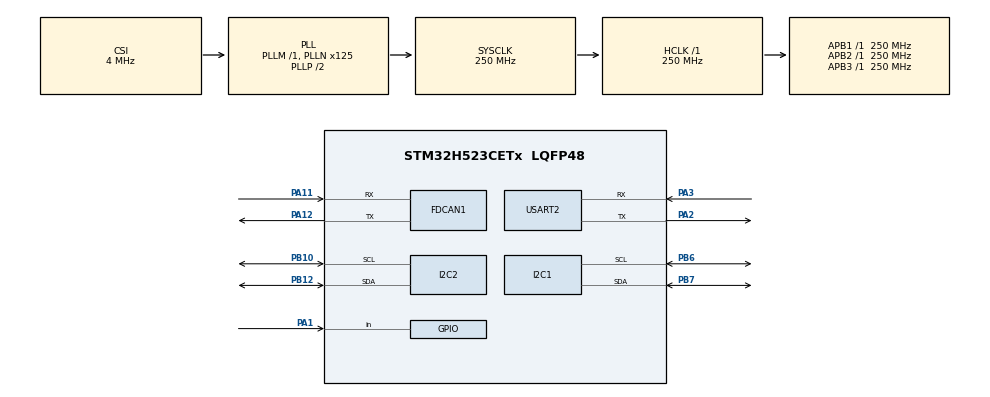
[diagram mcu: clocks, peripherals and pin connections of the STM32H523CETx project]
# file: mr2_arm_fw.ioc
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BOOTPATH.BootPathName=LEGACY
BOOTPATH.UserSelectedBootPath=LEGACY
CORTEX_M33_NS.userName=CORTEX_M33
FDCAN1.AutoRetransmission=ENABLE
FDCAN1.CalculateBaudRateNominal=1000000
FDCAN1.CalculateTimeBitNominal=1000
FDCAN1.CalculateTimeQuantumNominal=20.0
FDCAN1.NominalPrescaler=5
FDCAN1.NominalTimeSeg1=43
FDCAN1.NominalTimeSeg2=6
FDCAN1.TransmitPause=DISABLE
I2C1.Timing=0x60808CD3
I2C2.Timing=0x60808CD3
Mcu.Family=STM32H5
Mcu.Name=STM32H523CETx
Mcu.Package=LQFP48
NVIC.PriorityGroup=NVIC_PRIORITYGROUP_4
NVIC.TIM1_UP_IRQn=true\:0\:0\:false\:false\:true\:true\:true\:true
PA1.GPIO_PuPd=GPIO_PULLUP
PA1.Signal=GPIO_Input
PA11.Mode=FDCAN_Activate
PA11.Signal=FDCAN1_RX
PA12.Mode=FDCAN_Activate
PA12.Signal=FDCAN1_TX
PA13(JTMS/SWDIO).Mode=Serial_Wire
PA13(JTMS/SWDIO).Signal=DEBUG_JTMS-SWDIO
PA14(JTCK/SWCLK).Mode=Serial_Wire
PA14(JTCK/SWCLK).Signal=DEBUG_JTCK-SWCLK
PA2.Mode=Asynchronous
PA2.Signal=USART2_TX
PA3.Mode=Asynchronous
PA3.Signal=USART2_RX
PB10.GPIO_Pu=GPIO_PULLUP
PB10.Mode=I2C
PB10.Signal=I2C2_SCL
PB12.GPIO_Pu=GPIO_PULLUP
PB12.Mode=I2C
PB12.Signal=I2C2_SDA
PB6.GPIO_Pu=GPIO_PULLUP
PB6.Mode=I2C
PB6.Signal=I2C1_SCL
PB7.GPIO_Pu=GPIO_PULLUP
PB7.Mode=I2C
PB7.Signal=I2C1_SDA
PH0-OSC_IN(PH0).Mode=HSE-External-Oscillator
PH0-OSC_IN(PH0).Signal=RCC_OSC_IN
PH1-OSC_OUT(PH1).Mode=HSE-External-Oscillator
PH1-OSC_OUT(PH1).Signal=RCC_OSC_OUT
ProjectManager.HeapSize=0x200
ProjectManager.StackSize=0x400
ProjectManager.TargetToolchain=CMake
RCC.ADCFreq_Value=250000000
RCC.AHBFreq_Value=250000000
RCC.APB1Freq_Value=250000000
RCC.APB1TimFreq_Value=250000000
RCC.APB2Freq_Value=250000000
RCC.APB2TimFreq_Value=250000000
RCC.APB3Freq_Value=250000000
RCC.CSI_VALUE=4000000
RCC.CodegenConfigPeriph=true
RCC.CortexFreq_Value=250000000
RCC.DATA_CACHE_ENABLE=1
RCC.EPOD_VALUE=4000000
RCC.FDCANClockSelection=RCC_FDCANCLKSOURCE_PLL1Q
RCC.HCLKFreq_Value=250000000
RCC.HSE_VALUE=8000000
RCC.HSI48_VALUE=48000000
RCC.HSI_VALUE=64000000
RCC.INSTRUCTION_CACHE_ENABLE=1
RCC.LSE_Drive_CapabilityArg=+LSE_Drive_Capability
RCC.LSE_VALUE=0
RCC.LSIRC_VALUE=32000
RCC.PLL2FRACN=0
RCC.PLL3FRACN=0
RCC.PLLFRACN=0
RCC.PLLN=125
RCC.PREFETCH_ENABLE=0
RCC.PWREXT_OverDrive=PWREXT_OverDrive_DESACTIVATED
RCC.SYSCLKFreq_VALUE=250000000
RCC.SYSCLKSource=RCC_SYSCLKSOURCE_PLLCLK
RCC.USBFreq_Value=48000000
RCC.VCOOutputFreq_Value=500000000
TIM1.AutoReloadPreload=TIM_AUTORELOAD_PRELOAD_ENABLE
TIM1.PeriodNoDither=999
TIM1.Prescaler=24999
TIM2.PeriodNoDither=999
TIM2.Prescaler=2499
USART2.VirtualMode-Asynchronous=VM_ASYNC
VP_BOOTPATH_VS_BOOTPATH.Mode=BP_Activate
VP_CORTEX_M33_NS_VS_Hclk.Mode=Hclk_Mode
VP_ICACHE_VS_ICACHE.Mode=DirectMappedCache
VP_MEMORYMAP_VS_MEMORYMAP.Mode=CurAppReg
VP_PWR_VS_LPOM.Mode=PowerOptimisation
VP_PWR_VS_SECSignals.Mode=Security/Privilege
VP_TIM1_VS_ClockSourceINT.Mode=Internal
VP_TIM2_VS_ClockSourceINT.Mode=Internal
board=custom

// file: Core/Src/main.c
/* USER CODE BEGIN Header */
/**
 ******************************************************************************
 * @file           : main.c
 * @brief          : Main program body
 ******************************************************************************
 * @attention
 *
 * Copyright (c) 2025 STMicroelectronics.
 * All rights reserved.
 *
 * This software is licensed under terms that can be found in the LICENSE file
 * in the root directory of this software component.
 * If no LICENSE file comes with this software, it is provided AS-IS.
 *
 ******************************************************************************
 */
/* USER CODE END Header */
#include "main.h"

/* USER CODE BEGIN Includes */
#include <stdio.h>
#include <string.h>
/* USER CODE END Includes */

/* USER CODE BEGIN PTD */
typedef struct {
  I2C_HandleTypeDef *handle;
  const char *name;
  uint32_t consecutive_failures;
  uint32_t digital_filter;
} I2C_FaultContext;

/* USER CODE END PTD */

/* USER CODE BEGIN PD */
#define AS5600_I2C_ADDR (0x36u << 1) /* HAL expects 8-bit address */
#define AS5600_ANGLE_START 0x0Eu
#define AS5600_STEPS 4096.0f
#define CAN_ID_ENCODER1_STATUS 0x180U
#define CAN_ID_ENCODER2_STATUS 0x182U
#define CAN_ID_LIMIT_SWITCH 0x181U
#define ENC_FLAG_INDEX_SEEN 0x01u
#define ENC_FLAG_ERROR_LATCHED 0x02u
#define ENC_FLAG_SENSOR_FAULT 0x04u
#define ENC_FLAG_OVER_SPEED 0x08u
#define CAN_ERROR_FLAG_BUS_OFF (1UL << 9)
#define I2C_FAULT_RECOVERY_THRESHOLD 2u
/* USER CODE END PD */

FDCAN_HandleTypeDef hfdcan1;

I2C_HandleTypeDef hi2c1;
I2C_HandleTypeDef hi2c2;

TIM_HandleTypeDef htim1;
TIM_HandleTypeDef htim2;

UART_HandleTypeDef huart2;

/* USER CODE BEGIN PV */
static volatile uint32_t angle_check_pending = 0UL;
static FDCAN_TxHeaderTypeDef encoder_status_headers[2];
static FDCAN_TxHeaderTypeDef limit_switch_header;
static uint8_t encoder_status_flags[2] = {0u, 0u};
static volatile uint8_t limit_switch_pending = 0u;
static uint8_t limit_switch_frame[8] = {0};
static uint8_t limit_switch_last_state = 0u;
static uint8_t limit_switch_initialized = 0u;
static uint32_t limit_switch_next_periodic_tick = 0u;
static I2C_FaultContext i2c_fault_contexts[] = {
    {&hi2c1, "I2C1", 0u, 0u},
    {&hi2c2, "I2C2", 0u, 0u},
};
static int32_t encoder_position_q24[2] = {0};
static volatile uint8_t fdcan_bus_off_pending = 0u;
static volatile uint32_t fdcan_bus_off_request_tick = 0u;

/* USER CODE END PV */

void SystemClock_Config(void);
static void MX_GPIO_Init(void);
static void MX_I2C1_Init(void);
static void MX_I2C2_Init(void);
static void MX_ICACHE_Init(void);
static void MX_FDCAN1_Init(void);
static void MX_USART2_UART_Init(void);
static void MX_TIM1_Init(void);
static void MX_TIM2_Init(void);
/* USER CODE BEGIN PFP */
static void AngleCheck_Run(void);
static void CAN_InitTxHeaders(void);
static HAL_StatusTypeDef CAN_SendFrame(FDCAN_TxHeaderTypeDef *header,
                                       uint8_t data[8]);
static void CAN_SendEncoderStatus(uint8_t index);
static int32_t ClampToS24(int32_t value);
static void PackS24BE(uint8_t *dest, int32_t value);
static I2C_FaultContext *I2C_GetContext(I2C_HandleTypeDef *handle);
static HAL_StatusTypeDef I2C_RecoverBus(I2C_FaultContext *ctx);
static HAL_StatusTypeDef I2C_HandleFault(I2C_FaultContext *ctx);
static HAL_StatusTypeDef AS5600_ReadAngleWithFallback(I2C_HandleTypeDef *hi2c,
                                                      I2C_FaultContext *ctx,
                                                      uint16_t *angle12);
static void LimitSwitch_Poll(void);
static void LimitSwitch_RecordEvent(uint8_t state, uint8_t is_change);
static void LimitSwitch_Service(void);
static void CAN_ScheduleBusOffRecovery(void);
static void CAN_ServiceBusOff(void);

/* USER CODE END PFP */

/* USER CODE BEGIN 0 */
static HAL_StatusTypeDef AS5600_ReadAngle12(I2C_HandleTypeDef *hi2c,
                                            uint16_t *angle12) {
  uint8_t buf[2] = {0};
  HAL_StatusTypeDef st =
      HAL_I2C_Mem_Read(hi2c, AS5600_I2C_ADDR, AS5600_ANGLE_START,
                       I2C_MEMADD_SIZE_8BIT, buf, sizeof(buf), 10);
  if (st != HAL_OK) {
    return st;
  }

  *angle12 = (uint16_t)(((buf[0] & 0x0Fu) << 8) | buf[1]);
  return HAL_OK;
}

static void UART_SendLine(const char *s) {
  size_t len = strlen(s);
  HAL_UART_Transmit(&huart2, (uint8_t *)s, (uint16_t)len, 50);
}

static void print_i2c_error(const char *tag, I2C_HandleTypeDef *hi2c) {
  uint32_t err = HAL_I2C_GetError(hi2c);
  char msg[96];
  snprintf(msg, sizeof(msg), "%s ERR=0x%08lX%s%s%s%s%s%s\r\n", tag,
           (unsigned long)err, (err & HAL_I2C_ERROR_BERR) ? " BERR" : "",
           (err & HAL_I2C_ERROR_ARLO) ? " ARLO" : "",
           (err & HAL_I2C_ERROR_AF) ? " AF(NACK)" : "",
           (err & HAL_I2C_ERROR_OVR) ? " OVR" : "",
           (err & HAL_I2C_ERROR_DMA) ? " DMA" : "",
           (err & HAL_I2C_ERROR_TIMEOUT) ? " TIMEOUT" : "");
  UART_SendLine(msg);
}

static HAL_StatusTypeDef probe_as5600(I2C_HandleTypeDef *hi2c,
                                      const char *tag) {
  HAL_StatusTypeDef st = HAL_I2C_IsDeviceReady(hi2c, AS5600_I2C_ADDR, 3, 10);
  char line[64];
  if (st != HAL_OK) {
    snprintf(line, sizeof(line), "%s: NACK @0x36\r\n", tag);
    UART_SendLine(line);
    print_i2c_error(tag, hi2c);
  } else {
    snprintf(line, sizeof(line), "%s: OK\r\n", tag);
    UART_SendLine(line);
  }
  return st;
}

static int32_t ClampToS24(int32_t value) {
  if (value > 0x7FFFFF) {
    return 0x7FFFFF;
  }
  if (value < -0x800000) {
    return -0x800000;
  }
  return value;
}

static void PackS24BE(uint8_t *dest, int32_t value) {
  const int32_t clamped = ClampToS24(value);
  dest[0] = (uint8_t)((uint32_t)clamped >> 16);
  dest[1] = (uint8_t)((uint32_t)clamped >> 8);
  dest[2] = (uint8_t)((uint32_t)clamped);
}

static I2C_FaultContext *I2C_GetContext(I2C_HandleTypeDef *handle) {
  if (handle == NULL) {
    return NULL;
  }
  for (size_t i = 0; i < (sizeof(i2c_fault_contexts) / sizeof(i2c_fault_contexts[0])); ++i) {
    if (i2c_fault_contexts[i].handle == handle) {
      return &i2c_fault_contexts[i];
    }
  }
  return NULL;
}

static HAL_StatusTypeDef I2C_RecoverBus(I2C_FaultContext *ctx) {
  if (ctx == NULL) {
    return HAL_ERROR;
  }

  if (HAL_I2C_DeInit(ctx->handle) != HAL_OK) {
    char line[96];
    snprintf(line, sizeof(line), "%s: I2C deinit failed\r\n", ctx->name);
    UART_SendLine(line);
    return HAL_ERROR;
  }

  if (HAL_I2C_Init(ctx->handle) != HAL_OK) {
    char line[96];
    snprintf(line, sizeof(line), "%s: I2C init failed\r\n", ctx->name);
    UART_SendLine(line);
    return HAL_ERROR;
  }

  if (HAL_I2CEx_ConfigAnalogFilter(ctx->handle, I2C_ANALOGFILTER_ENABLE) != HAL_OK) {
    char line[96];
    snprintf(line, sizeof(line), "%s: analog filter cfg failed\r\n", ctx->name);
    UART_SendLine(line);
    return HAL_ERROR;
  }

  if (HAL_I2CEx_ConfigDigitalFilter(ctx->handle, ctx->digital_filter) != HAL_OK) {
    char line[96];
    snprintf(line, sizeof(line), "%s: digital filter cfg failed\r\n", ctx->name);
    UART_SendLine(line);
    return HAL_ERROR;
  }

  return HAL_OK;
}

static HAL_StatusTypeDef I2C_HandleFault(I2C_FaultContext *ctx) {
  if (ctx == NULL) {
    return HAL_ERROR;
  }

  if (ctx->consecutive_failures < UINT32_MAX) {
    ctx->consecutive_failures++;
  }

  char line[96];
  snprintf(line, sizeof(line), "%s fault count=%lu\r\n", ctx->name,
           (unsigned long)ctx->consecutive_failures);
  UART_SendLine(line);

  if (ctx->consecutive_failures < I2C_FAULT_RECOVERY_THRESHOLD) {
    return HAL_ERROR;
  }

  snprintf(line, sizeof(line), "%s attempting bus recovery\r\n", ctx->name);
  UART_SendLine(line);

  HAL_StatusTypeDef status = I2C_RecoverBus(ctx);
  if (status == HAL_OK) {
    snprintf(line, sizeof(line), "%s recovery succeeded\r\n", ctx->name);
    UART_SendLine(line);
    ctx->consecutive_failures = 0u;
  } else {
    snprintf(line, sizeof(line), "%s recovery failed\r\n", ctx->name);
    UART_SendLine(line);
    if (ctx->consecutive_failures > I2C_FAULT_RECOVERY_THRESHOLD) {
      ctx->consecutive_failures = I2C_FAULT_RECOVERY_THRESHOLD;
    }
  }
  return status;
}

static HAL_StatusTypeDef AS5600_ReadAngleWithFallback(I2C_HandleTypeDef *hi2c,
                                                      I2C_FaultContext *ctx,
                                                      uint16_t *angle12) {
  HAL_StatusTypeDef status = AS5600_ReadAngle12(hi2c, angle12);
  if (ctx == NULL) {
    return status;
  }

  if (status == HAL_OK) {
    ctx->consecutive_failures = 0u;
    return HAL_OK;
  }

  print_i2c_error(ctx->name, hi2c);
  (void)I2C_HandleFault(ctx);

  status = AS5600_ReadAngle12(hi2c, angle12);
  if (status == HAL_OK) {
    ctx->consecutive_failures = 0u;
    return HAL_OK;
  }

  print_i2c_error(ctx->name, hi2c);
  if (ctx->consecutive_failures == 0u) {
    ctx->consecutive_failures = 1u;
  }
  return status;
}

static void LimitSwitch_RecordEvent(uint8_t state, uint8_t is_change) {
  limit_switch_frame[0] = state;
  limit_switch_frame[1] = 0u;
  limit_switch_frame[2] = 0u;
  limit_switch_frame[3] = 0u;
  limit_switch_frame[4] = 0u;
  limit_switch_frame[5] = 0u;
  limit_switch_frame[6] = 0u;
  limit_switch_frame[7] = 0u;
  limit_switch_pending = 1u;

  if (is_change != 0u) {
    const char *edge_str = (state != 0u) ? "rising" : "falling";
    char line[64];
    snprintf(line, sizeof(line),
             "Limit switch: state=%u edge=%s\r\n",
             (unsigned int)state, edge_str);
    UART_SendLine(line);
  }
}

static void LimitSwitch_Poll(void) {
  uint32_t now = HAL_GetTick();
  GPIO_PinState pin_state = HAL_GPIO_ReadPin(GPIOA, GPIO_PIN_1);
  uint8_t state = (pin_state == GPIO_PIN_SET) ? 1u : 0u;

  if (limit_switch_initialized == 0u) {
    limit_switch_last_state = state;
    limit_switch_initialized = 1u;
    limit_switch_next_periodic_tick = now;
    LimitSwitch_RecordEvent(state, 1u);
    return;
  }

  if (state != limit_switch_last_state) {
    limit_switch_last_state = state;
    limit_switch_next_periodic_tick = now + 200u;
    LimitSwitch_RecordEvent(state, 1u);
    return;
  }

  if ((int32_t)(now - limit_switch_next_periodic_tick) >= 0) {
    limit_switch_next_periodic_tick = now + 200u;
    if (limit_switch_pending == 0u) {
      LimitSwitch_RecordEvent(state, 0u);
    }
  }
}

static void CAN_InitTxHeaders(void) {
  FDCAN_TxHeaderTypeDef base = {0};
  base.IdType = FDCAN_STANDARD_ID;
  base.TxFrameType = FDCAN_DATA_FRAME;
  base.DataLength = FDCAN_DLC_BYTES_8;
  base.ErrorStateIndicator = FDCAN_ESI_ACTIVE;
  base.BitRateSwitch = FDCAN_BRS_OFF;
  base.FDFormat = FDCAN_CLASSIC_CAN;
  base.TxEventFifoControl = FDCAN_NO_TX_EVENTS;
  base.MessageMarker = 0;

  encoder_status_headers[0] = base;
  encoder_status_headers[1] = base;
  encoder_status_headers[0].Identifier = CAN_ID_ENCODER1_STATUS;
  encoder_status_headers[1].Identifier = CAN_ID_ENCODER2_STATUS;

  limit_switch_header = base;
  limit_switch_header.Identifier = CAN_ID_LIMIT_SWITCH;
}

static HAL_StatusTypeDef CAN_SendFrame(FDCAN_TxHeaderTypeDef *header,
                                       uint8_t data[8]) {
  if (HAL_FDCAN_GetTxFifoFreeLevel(&hfdcan1) == 0U) {
    char line[64];
    snprintf(line, sizeof(line), "CAN TX busy (fifo full), id=0x%03lX\r\n",
             (unsigned long)header->Identifier);
    UART_SendLine(line);
    FDCAN_ProtocolStatusTypeDef proto = {0};
    (void)HAL_FDCAN_GetProtocolStatus(&hfdcan1, &proto);
    uint32_t err = HAL_FDCAN_GetError(&hfdcan1);
    snprintf(line, sizeof(line),
             "CAN diag: act=%u lec=%u bo=%u err=0x%08lX\r\n",
             (unsigned int)proto.Activity, (unsigned int)proto.LastErrorCode,
             (unsigned int)proto.BusOff, (unsigned long)err);
    UART_SendLine(line);
    if ((proto.BusOff != 0U) || ((err & CAN_ERROR_FLAG_BUS_OFF) != 0U)) {
      CAN_ScheduleBusOffRecovery();
    }
    return HAL_BUSY;
  }

  HAL_StatusTypeDef status =
      HAL_FDCAN_AddMessageToTxFifoQ(&hfdcan1, header, data);
  if (status != HAL_OK) {
    char line[96];
    snprintf(line, sizeof(line), "CAN TX failed status=%ld id=0x%03lX\r\n",
             (long)status, (unsigned long)header->Identifier);
    UART_SendLine(line);
    FDCAN_ProtocolStatusTypeDef proto = {0};
    (void)HAL_FDCAN_GetProtocolStatus(&hfdcan1, &proto);
    uint32_t err = HAL_FDCAN_GetError(&hfdcan1);
    snprintf(line, sizeof(line),
             "CAN diag: act=%u lec=%u bo=%u err=0x%08lX\r\n",
             (unsigned int)proto.Activity, (unsigned int)proto.LastErrorCode,
             (unsigned int)proto.BusOff, (unsigned long)err);
    UART_SendLine(line);
    if ((proto.BusOff != 0U) || ((err & CAN_ERROR_FLAG_BUS_OFF) != 0U)) {
      CAN_ScheduleBusOffRecovery();
    }
  }
  return status;
}

static void CAN_SendEncoderStatus(uint8_t index) {
  if (index >= 2U) {
    return;
  }
  uint8_t payload[8] = {0};
  PackS24BE(&payload[0], encoder_position_q24[index]);
  payload[3] = encoder_status_flags[index];
  (void)CAN_SendFrame(&encoder_status_headers[index], payload);
}

static void LimitSwitch_Service(void) {
  if (limit_switch_pending == 0U) {
    return;
  }

  uint8_t payload[8];
  uint8_t have_frame = 0U;

  uint32_t primask = __get_PRIMASK();
  __disable_irq();
  if (limit_switch_pending != 0U) {
    memcpy(payload, limit_switch_frame, sizeof(payload));
    limit_switch_pending = 0U;
    have_frame = 1U;
  }
  if (primask == 0U) {
    __enable_irq();
  }

  if (have_frame == 0U) {
    return;
  }

  HAL_StatusTypeDef tx_status = CAN_SendFrame(&limit_switch_header, payload);
  if (tx_status == HAL_OK) {
    return;
  }

  uint32_t primask2 = __get_PRIMASK();
  __disable_irq();
  memcpy(limit_switch_frame, payload, sizeof(limit_switch_frame));
  limit_switch_pending = 1U;
  if (primask2 == 0U) {
    __enable_irq();
  }
}

static void CAN_ScheduleBusOffRecovery(void) {
  if (fdcan_bus_off_pending == 0u) {
    fdcan_bus_off_pending = 1u;
    fdcan_bus_off_request_tick = HAL_GetTick();
  }
}

static void CAN_ServiceBusOff(void) {
  if (fdcan_bus_off_pending == 0u) {
    return;
  }

  uint32_t now = HAL_GetTick();
  if ((uint32_t)(now - fdcan_bus_off_request_tick) < 200u) {
    return;
  }

  UART_SendLine("CAN bus-off recovery start\r\n");

  if (HAL_FDCAN_Stop(&hfdcan1) != HAL_OK) {
    UART_SendLine("CAN stop failed, retry later\r\n");
    fdcan_bus_off_request_tick = now;
    return;
  }

  if (HAL_FDCAN_DeInit(&hfdcan1) != HAL_OK) {
    UART_SendLine("CAN deinit failed, retry later\r\n");
    fdcan_bus_off_request_tick = now;
    return;
  }

  MX_FDCAN1_Init();
  CAN_InitTxHeaders();

  if (HAL_FDCAN_Start(&hfdcan1) != HAL_OK) {
    UART_SendLine("CAN restart failed, retry later\r\n");
    fdcan_bus_off_request_tick = now;
    return;
  }

  if (HAL_FDCAN_ActivateNotification(&hfdcan1, FDCAN_IT_BUS_OFF, 0U) !=
      HAL_OK) {
    UART_SendLine("CAN notification re-arm failed\r\n");
  }

  UART_SendLine("CAN bus-off recovery complete\r\n");
  fdcan_bus_off_pending = 0u;
  CAN_SendEncoderStatus(0u);
  CAN_SendEncoderStatus(1u);
}
/* USER CODE END 0 */

int main(void)
{

  /* MCU Configuration--------------------------------------------------------*/

  /* Reset of all peripherals, Initializes the Flash interface and the Systick. */
  HAL_Init();

  /* Configure the system clock */
  SystemClock_Config();

  /* Initialize all configured peripherals */
  MX_GPIO_Init();
  MX_I2C1_Init();
  MX_I2C2_Init();
  MX_ICACHE_Init();
  MX_FDCAN1_Init();
  MX_USART2_UART_Init();
  MX_TIM1_Init();
  MX_TIM2_Init();
  /* USER CODE BEGIN 2 */
  CAN_InitTxHeaders();
  if (HAL_FDCAN_ActivateNotification(&hfdcan1, FDCAN_IT_BUS_OFF, 0U) !=
      HAL_OK) {
    Error_Handler();
  }
  if (HAL_FDCAN_Start(&hfdcan1) != HAL_OK) {
    Error_Handler();
  }
  UART_SendLine("AS5600 demo start\r\n");
  if (HAL_TIM_Base_Start_IT(&htim1) != HAL_OK) {
    Error_Handler();
  }
  if (HAL_TIM_Base_Start_IT(&htim2) != HAL_OK) {
    Error_Handler();
  }
  AngleCheck_Run();
  CAN_ServiceBusOff();
  LimitSwitch_Poll();
  /* USER CODE END 2 */

  /* Infinite loop */
  while (1) {

    /* USER CODE BEGIN 3 */
    LimitSwitch_Service();
    CAN_ServiceBusOff();

    if (angle_check_pending > 0UL) {
      angle_check_pending--;
      AngleCheck_Run();
      CAN_ServiceBusOff();
      continue;
    }

    if (limit_switch_pending != 0U) {
      continue;
    }

    __WFI();
  }
  /* USER CODE END 3 */
}

void SystemClock_Config(void)
{
  RCC_OscInitTypeDef RCC_OscInitStruct = {0};
  RCC_ClkInitTypeDef RCC_ClkInitStruct = {0};

  /** Configure the main internal regulator output voltage
  */
  __HAL_PWR_VOLTAGESCALING_CONFIG(PWR_REGULATOR_VOLTAGE_SCALE0);

  while(!__HAL_PWR_GET_FLAG(PWR_FLAG_VOSRDY)) {}

  /** Initializes the RCC Oscillators according to the specified parameters
  * in the RCC_OscInitTypeDef structure.
  */
  RCC_OscInitStruct.OscillatorType = RCC_OSCILLATORTYPE_CSI;
  RCC_OscInitStruct.CSIState = RCC_CSI_ON;
  RCC_OscInitStruct.CSICalibrationValue = RCC_CSICALIBRATION_DEFAULT;
  RCC_OscInitStruct.PLL.PLLState = RCC_PLL_ON;
  RCC_OscInitStruct.PLL.PLLSource = RCC_PLL1_SOURCE_CSI;
  RCC_OscInitStruct.PLL.PLLM = 1;
  RCC_OscInitStruct.PLL.PLLN = 125;
  RCC_OscInitStruct.PLL.PLLP = 2;
  RCC_OscInitStruct.PLL.PLLQ = 2;
  RCC_OscInitStruct.PLL.PLLR = 2;
  RCC_OscInitStruct.PLL.PLLRGE = RCC_PLL1_VCIRANGE_2;
  RCC_OscInitStruct.PLL.PLLVCOSEL = RCC_PLL1_VCORANGE_WIDE;
  RCC_OscInitStruct.PLL.PLLFRACN = 0;
  if (HAL_RCC_OscConfig(&RCC_OscInitStruct) != HAL_OK)
  {
    Error_Handler();
  }

  /** Initializes the CPU, AHB and APB buses clocks
  */
  RCC_ClkInitStruct.ClockType = RCC_CLOCKTYPE_HCLK|RCC_CLOCKTYPE_SYSCLK
                              |RCC_CLOCKTYPE_PCLK1|RCC_CLOCKTYPE_PCLK2
                              |RCC_CLOCKTYPE_PCLK3;
  RCC_ClkInitStruct.SYSCLKSource = RCC_SYSCLKSOURCE_PLLCLK;
  RCC_ClkInitStruct.AHBCLKDivider = RCC_SYSCLK_DIV1;
  RCC_ClkInitStruct.APB1CLKDivider = RCC_HCLK_DIV1;
  RCC_ClkInitStruct.APB2CLKDivider = RCC_HCLK_DIV1;
  RCC_ClkInitStruct.APB3CLKDivider = RCC_HCLK_DIV1;

  if (HAL_RCC_ClockConfig(&RCC_ClkInitStruct, FLASH_LATENCY_5) != HAL_OK)
  {
    Error_Handler();
  }

  /** Configure the programming delay
  */
  __HAL_FLASH_SET_PROGRAM_DELAY(FLASH_PROGRAMMING_DELAY_2);
}

static void MX_FDCAN1_Init(void)
{

  hfdcan1.Instance = FDCAN1;
  hfdcan1.Init.ClockDivider = FDCAN_CLOCK_DIV1;
  hfdcan1.Init.FrameFormat = FDCAN_FRAME_CLASSIC;
  hfdcan1.Init.Mode = FDCAN_MODE_NORMAL;
  hfdcan1.Init.AutoRetransmission = ENABLE;
  hfdcan1.Init.TransmitPause = DISABLE;
  hfdcan1.Init.ProtocolException = DISABLE;
  hfdcan1.Init.NominalPrescaler = 5;
  hfdcan1.Init.NominalSyncJumpWidth = 1;
  hfdcan1.Init.NominalTimeSeg1 = 43;
  hfdcan1.Init.NominalTimeSeg2 = 6;
  hfdcan1.Init.DataPrescaler = 1;
  hfdcan1.Init.DataSyncJumpWidth = 1;
  hfdcan1.Init.DataTimeSeg1 = 1;
  hfdcan1.Init.DataTimeSeg2 = 1;
  hfdcan1.Init.StdFiltersNbr = 0;
  hfdcan1.Init.ExtFiltersNbr = 0;
  hfdcan1.Init.TxFifoQueueMode = FDCAN_TX_FIFO_OPERATION;
  if (HAL_FDCAN_Init(&hfdcan1) != HAL_OK)
  {
    Error_Handler();
  }

}

static void MX_I2C1_Init(void)
{

  hi2c1.Instance = I2C1;
  hi2c1.Init.Timing = 0x60808CD3;
  hi2c1.Init.OwnAddress1 = 0;
  hi2c1.Init.AddressingMode = I2C_ADDRESSINGMODE_7BIT;
  hi2c1.Init.DualAddressMode = I2C_DUALADDRESS_DISABLE;
  hi2c1.Init.OwnAddress2 = 0;
  hi2c1.Init.OwnAddress2Masks = I2C_OA2_NOMASK;
  hi2c1.Init.GeneralCallMode = I2C_GENERALCALL_DISABLE;
  hi2c1.Init.NoStretchMode = I2C_NOSTRETCH_DISABLE;
  if (HAL_I2C_Init(&hi2c1) != HAL_OK)
  {
    Error_Handler();
  }

  /** Configure Analogue filter
  */
  if (HAL_I2CEx_ConfigAnalogFilter(&hi2c1, I2C_ANALOGFILTER_ENABLE) != HAL_OK)
  {
    Error_Handler();
  }

  /** Configure Digital filter
  */
  if (HAL_I2CEx_ConfigDigitalFilter(&hi2c1, 0) != HAL_OK)
  {
    Error_Handler();
  }

}

static void MX_I2C2_Init(void)
{

  hi2c2.Instance = I2C2;
  hi2c2.Init.Timing = 0x60808CD3;
  hi2c2.Init.OwnAddress1 = 0;
  hi2c2.Init.AddressingMode = I2C_ADDRESSINGMODE_7BIT;
  hi2c2.Init.DualAddressMode = I2C_DUALADDRESS_DISABLE;
  hi2c2.Init.OwnAddress2 = 0;
  hi2c2.Init.OwnAddress2Masks = I2C_OA2_NOMASK;
  hi2c2.Init.GeneralCallMode = I2C_GENERALCALL_DISABLE;
  hi2c2.Init.NoStretchMode = I2C_NOSTRETCH_DISABLE;
  if (HAL_I2C_Init(&hi2c2) != HAL_OK)
  {
    Error_Handler();
  }

  /** Configure Analogue filter
  */
  if (HAL_I2CEx_ConfigAnalogFilter(&hi2c2, I2C_ANALOGFILTER_ENABLE) != HAL_OK)
  {
    Error_Handler();
  }

  /** Configure Digital filter
  */
  if (HAL_I2CEx_ConfigDigitalFilter(&hi2c2, 0) != HAL_OK)
  {
    Error_Handler();
  }

}

static void MX_ICACHE_Init(void)
{

  /** Enable instruction cache in 1-way (direct mapped cache)
  */
  if (HAL_ICACHE_ConfigAssociativityMode(ICACHE_1WAY) != HAL_OK)
  {
    Error_Handler();
  }
  if (HAL_ICACHE_Enable() != HAL_OK)
  {
    Error_Handler();
  }

}

static void MX_TIM1_Init(void)
{

  TIM_ClockConfigTypeDef sClockSourceConfig = {0};
  TIM_MasterConfigTypeDef sMasterConfig = {0};

  htim1.Instance = TIM1;
  htim1.Init.Prescaler = 24999;
  htim1.Init.CounterMode = TIM_COUNTERMODE_UP;
  htim1.Init.Period = 999;
  htim1.Init.ClockDivision = TIM_CLOCKDIVISION_DIV1;
  htim1.Init.RepetitionCounter = 0;
  htim1.Init.AutoReloadPreload = TIM_AUTORELOAD_PRELOAD_ENABLE;
  if (HAL_TIM_Base_Init(&htim1) != HAL_OK)
  {
    Error_Handler();
  }
  sClockSourceConfig.ClockSource = TIM_CLOCKSOURCE_INTERNAL;
  if (HAL_TIM_ConfigClockSource(&htim1, &sClockSourceConfig) != HAL_OK)
  {
    Error_Handler();
  }
  sMasterConfig.MasterOutputTrigger = TIM_TRGO_RESET;
  sMasterConfig.MasterOutputTrigger2 = TIM_TRGO2_RESET;
  sMasterConfig.MasterSlaveMode = TIM_MASTERSLAVEMODE_DISABLE;
  if (HAL_TIMEx_MasterConfigSynchronization(&htim1, &sMasterConfig) != HAL_OK)
  {
    Error_Handler();
  }

}

static void MX_TIM2_Init(void)
{

  TIM_ClockConfigTypeDef sClockSourceConfig = {0};
  TIM_MasterConfigTypeDef sMasterConfig = {0};

  htim2.Instance = TIM2;
  htim2.Init.Prescaler = 2499;
  htim2.Init.CounterMode = TIM_COUNTERMODE_UP;
  htim2.Init.Period = 999;
  htim2.Init.ClockDivision = TIM_CLOCKDIVISION_DIV1;
  htim2.Init.AutoReloadPreload = TIM_AUTORELOAD_PRELOAD_DISABLE;
  if (HAL_TIM_Base_Init(&htim2) != HAL_OK)
  {
    Error_Handler();
  }
  sClockSourceConfig.ClockSource = TIM_CLOCKSOURCE_INTERNAL;
  if (HAL_TIM_ConfigClockSource(&htim2, &sClockSourceConfig) != HAL_OK)
  {
    Error_Handler();
  }
  sMasterConfig.MasterOutputTrigger = TIM_TRGO_RESET;
  sMasterConfig.MasterSlaveMode = TIM_MASTERSLAVEMODE_DISABLE;
  if (HAL_TIMEx_MasterConfigSynchronization(&htim2, &sMasterConfig) != HAL_OK)
  {
    Error_Handler();
  }

}

static void MX_USART2_UART_Init(void)
{

  huart2.Instance = USART2;
  huart2.Init.BaudRate = 115200;
  huart2.Init.WordLength = UART_WORDLENGTH_8B;
  huart2.Init.StopBits = UART_STOPBITS_1;
  huart2.Init.Parity = UART_PARITY_NONE;
  huart2.Init.Mode = UART_MODE_TX_RX;
  huart2.Init.HwFlowCtl = UART_HWCONTROL_NONE;
  huart2.Init.OverSampling = UART_OVERSAMPLING_16;
  huart2.Init.OneBitSampling = UART_ONE_BIT_SAMPLE_DISABLE;
  huart2.Init.ClockPrescaler = UART_PRESCALER_DIV1;
  huart2.AdvancedInit.AdvFeatureInit = UART_ADVFEATURE_NO_INIT;
  if (HAL_UART_Init(&huart2) != HAL_OK)
  {
    Error_Handler();
  }
  if (HAL_UARTEx_SetTxFifoThreshold(&huart2, UART_TXFIFO_THRESHOLD_1_8) != HAL_OK)
  {
    Error_Handler();
  }
  if (HAL_UARTEx_SetRxFifoThreshold(&huart2, UART_RXFIFO_THRESHOLD_1_8) != HAL_OK)
  {
    Error_Handler();
  }
  if (HAL_UARTEx_DisableFifoMode(&huart2) != HAL_OK)
  {
    Error_Handler();
  }

}

static void MX_GPIO_Init(void)
{
  GPIO_InitTypeDef GPIO_InitStruct = {0};

  /* GPIO Ports Clock Enable */
  __HAL_RCC_GPIOH_CLK_ENABLE();
  __HAL_RCC_GPIOA_CLK_ENABLE();
  __HAL_RCC_GPIOB_CLK_ENABLE();

  /*Configure GPIO pin : PA1 */
  GPIO_InitStruct.Pin = GPIO_PIN_1;
  GPIO_InitStruct.Mode = GPIO_MODE_INPUT;
  GPIO_InitStruct.Pull = GPIO_PULLUP;
  HAL_GPIO_Init(GPIOA, &GPIO_InitStruct);

}

/* USER CODE BEGIN 4 */
static void AngleCheck_Run(void) {
  probe_as5600(&hi2c1, "I2C1");
  probe_as5600(&hi2c2, "I2C2");

  uint16_t angle1 = 0;
  uint16_t angle2 = 0;
  I2C_FaultContext *i2c1_ctx = I2C_GetContext(&hi2c1);
  I2C_FaultContext *i2c2_ctx = I2C_GetContext(&hi2c2);
  HAL_StatusTypeDef s1 = AS5600_ReadAngleWithFallback(&hi2c1, i2c1_ctx, &angle1);
  HAL_StatusTypeDef s2 = AS5600_ReadAngleWithFallback(&hi2c2, i2c2_ctx, &angle2);

  if (s1 != HAL_OK) {
    encoder_status_flags[0] |= (ENC_FLAG_SENSOR_FAULT | ENC_FLAG_ERROR_LATCHED);
  }
  if (s2 != HAL_OK) {
    encoder_status_flags[1] |= (ENC_FLAG_SENSOR_FAULT | ENC_FLAG_ERROR_LATCHED);
  }

  if (s1 == HAL_OK) {
    encoder_status_flags[0] |= ENC_FLAG_INDEX_SEEN;
    encoder_status_flags[0] &= (uint8_t)~ENC_FLAG_SENSOR_FAULT;
    int32_t centered = ((int32_t)angle1 - 2048) << 12;
    encoder_position_q24[0] = ClampToS24(centered);
  }
  if (s2 == HAL_OK) {
    encoder_status_flags[1] |= ENC_FLAG_INDEX_SEEN;
    encoder_status_flags[1] &= (uint8_t)~ENC_FLAG_SENSOR_FAULT;
    int32_t centered = ((int32_t)angle2 - 2048) << 12;
    encoder_position_q24[1] = ClampToS24(centered);
  }

  const float deg1 = (angle1 * 360.0f) / AS5600_STEPS;
  const float deg2 = (angle2 * 360.0f) / AS5600_STEPS;

  char line[96];
  if ((s1 == HAL_OK) && (s2 == HAL_OK)) {
    snprintf(line, sizeof(line), "A1=%u (%.2fdeg), A2=%u (%.2fdeg)\r\n", angle1,
             deg1, angle2, deg2);
  } else {
    snprintf(line, sizeof(line), "ERR A1=%u (%.2fdeg), A2=%u (%.2fdeg)\r\n",
             angle1, deg1, angle2, deg2);
  }

  UART_SendLine(line);

  CAN_SendEncoderStatus(0U);
  CAN_SendEncoderStatus(1U);
}

void HAL_TIM_PeriodElapsedCallback(TIM_HandleTypeDef *htim) {
  if (htim->Instance == TIM1) {
    if (angle_check_pending < UINT32_MAX) {
      angle_check_pending++;
    }
  } else if (htim->Instance == TIM2) {
    LimitSwitch_Poll();
  }
}

void HAL_GPIO_EXTI_Falling_Callback(uint16_t GPIO_Pin) {
  (void)GPIO_Pin;
}

void HAL_FDCAN_ErrorStatusCallback(FDCAN_HandleTypeDef *hfdcan,
                                   uint32_t ErrorStatusITs) {
  if (hfdcan == &hfdcan1) {
    if ((ErrorStatusITs & FDCAN_IT_BUS_OFF) != 0U) {
      UART_SendLine("CAN bus-off interrupt\r\n");
      CAN_ScheduleBusOffRecovery();
    }
  }
}

/* USER CODE END 4 */

void Error_Handler(void)
{
  __disable_irq();
  while (1) {
  }
}
#ifdef USE_FULL_ASSERT
/**
  * @brief  Reports the name of the source file and the source line number
  *         where the assert_param error has occurred.
  * @param  file: pointer to the source file name
  * @param  line: assert_param error line source number
  * @retval None
  */
void assert_failed(uint8_t *file, uint32_t line)
{
  /* USER CODE BEGIN 6 */
  /* User can add his own implementation to report the file name and line
     number, ex: printf("Wrong parameters value: file %s on line %d\r\n", file,
     line) */
  /* USER CODE END 6 */
}
#endif /* USE_FULL_ASSERT */
